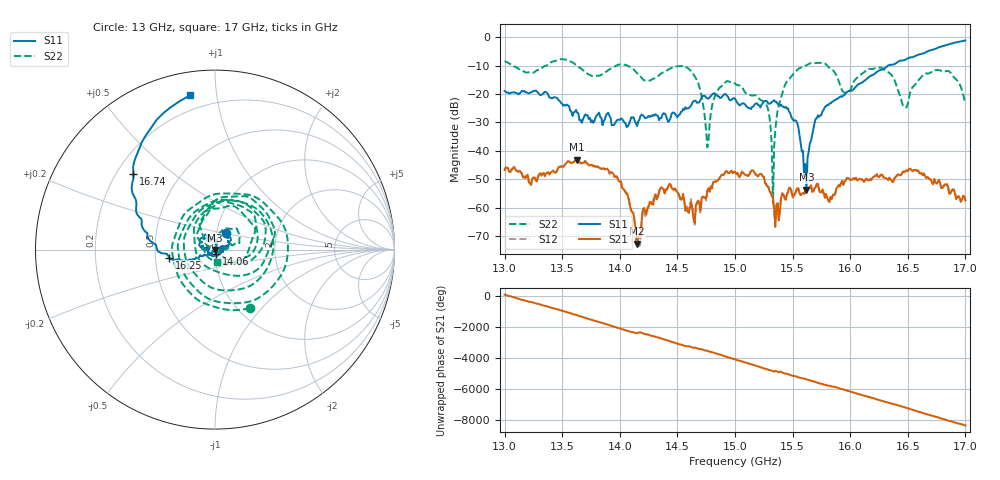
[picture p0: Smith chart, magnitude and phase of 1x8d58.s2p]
!Keysight Technologies,P9374A,MY57211807,A.19.30.04
!Date: Friday, May 08, 2026 15:22:11
!Correction: S11(C  2-Port  )
!S21(C  2-Port  )
!S12(C  2-Port  )
!S22(C  2-Port  )
!S2P File: Measurements: S11, S21, S12, S22:
# Hz S  dB  R 50
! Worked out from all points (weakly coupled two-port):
!   401 points, 13 GHz to 17 GHz, reference 50 ohm
!   highest |S21| = -43.17 dB at 13.63 GHz (marker M1); lowest = -72.6 dB at 14.15 GHz (marker M2)
!   lowest |S11| = -53.7 dB at 15.62 GHz (marker M3), VSWR 1.00, Z = 49.9 - j0.184 ohm
!   |S11| at or under -10 dB: start of sweep to 16.33 GHz
!   |S22| runs from -58.5 to -7.8 dB; largest |S21 - S12| = 0.00039
!   S11 on the Smith chart (normalised r, x): 13 GHz: 1.11, +0.21; 14.06 GHz: 1.01, -0.05; 16.25 GHz: 0.59, -0.06; 16.74 GHz: 0.27, +0.37; 17 GHz: 0.12, +0.85
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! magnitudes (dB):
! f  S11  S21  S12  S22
! 13 GHz  -18.9  -46.8  -46.8  -8.4
! 13.63 GHz  -26.6  -43.2  -43.3  -10.2
! 13.67 GHz  -30.1  -44.3  -44.3  -11.2
! 14.06 GHz  -31.7  -55.3  -54.7  -9.9
! 14.15 GHz  -31.3  -72.6  -73.0  -12.7
! 14.34 GHz  -29.2  -54.8  -54.2  -13.4
! 14.62 GHz  -24.0  -58.0  -57.0  -12.0
! 14.76 GHz  -21.5  -54.1  -53.9  -38.8
! 14.85 GHz  -20.8  -50.4  -50.4  -18.7
! 15 GHz  -21.6  -47.3  -47.7  -16.4
! 15.27 GHz  -22.4  -51.8  -51.6  -23.8
! 15.33 GHz  -22.5  -56.5  -56.4  -58.5
! 15.43 GHz  -24.8  -56.7  -56.3  -17.2
! 15.54 GHz  -30.2  -53.2  -53.1  -11.6
! 15.62 GHz  -53.7  -53.5  -53.5  -9.9
! 15.67 GHz  -34.5  -54.5  -54.1  -9.1
! 15.96 GHz  -19.9  -50.5  -50.3  -19.6
! 16.25 GHz  -11.8  -49.4  -49.5  -10.8
! 16.34 GHz  -9.8  -49.5  -49.4  -12.6
! 16.48 GHz  -8.0  -47.1  -47.0  -24.8
! 16.74 GHz  -4.1  -51.0  -51.0  -11.6
! 17 GHz  -1.2  -57.5  -57.4  -23.4
